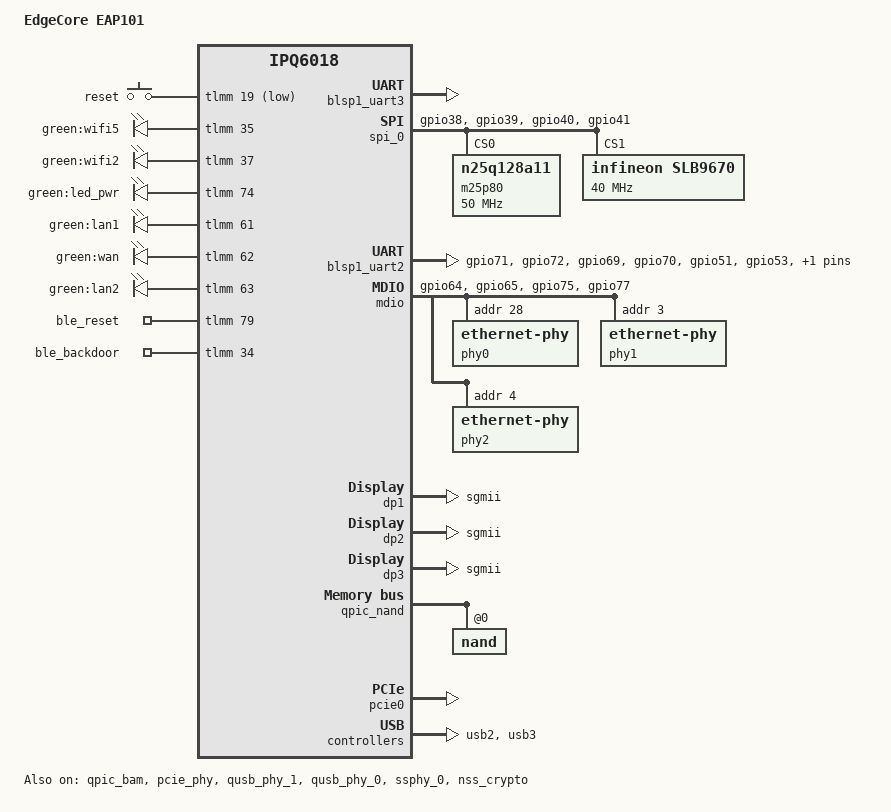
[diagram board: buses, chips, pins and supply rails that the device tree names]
// SPDX-License-Identifier: (GPL-2.0+ OR BSD-3-Clause)
/*
 * IPQ6018 CP01 board device tree source
 *
 * Copyright (c) 2019-2021 The Linux Foundation. All rights reserved.
 */

/dts-v1/;

#include "ipq6018.dtsi"
#include "ipq6018-cpr-regulator.dtsi"
#include <dt-bindings/input/input.h>

/ {
	model = "EdgeCore EAP101";
	compatible = "edgecore,eap101", "qcom,ipq6018-cp01", "qcom,ipq6018";

	aliases {
		serial0 = &blsp1_uart3;
		serial1 = &blsp1_uart2;
		/*
		 * Aliases as required by u-boot
		 * to patch MAC addresses
		 */
		ethernet0 = "/soc/dp1";
		ethernet1 = "/soc/dp2";
		ethernet2 = "/soc/dp3";

		led-boot = &led_power;
		led-failsafe = &led_power;
		led-running = &led_power;
		led-upgrade = &led_power;
	};

	chosen {
		stdout-path = "serial0:115200n8";
		bootargs-append = " swiotlb=1";
	};
};

&blsp1_uart3 {
	pinctrl-0 = <&serial_3_pins>;
	pinctrl-names = "default";
	status = "ok";
};

&spi_0 {
	pinctrl-0 = <&spi_0_pins>;
	pinctrl-names = "default";
	cs-select = <0>;
	status = "ok";

	m25p80@0 {
		#address-cells = <1>;
		#size-cells = <1>;
		reg = <0>;
		compatible = "n25q128a11";
		linux,modalias = "m25p80", "n25q128a11";
		spi-max-frequency = <50000000>;
		use-default-sizes;
	};

	slb9670@1{
		compatible = "infineon,slb9670";
		reg = <1>; /* CE1 */
		#address-cells = <1>;
		#size-cells = <0>;
		spi-max-frequency = <40000000>;
		status = "okay";
	};
};

&blsp1_uart2 {
	pinctrl-0 = <&hsuart_pins &btcoex_pins>;
	pinctrl-names = "default";
	dmas = <&blsp_dma 2>,
		<&blsp_dma 3>;
	dma-names = "tx", "rx";
	status = "ok";
};

&tlmm {
	spi_0_pins: spi-0-pins {
		pins = "gpio38", "gpio39", "gpio40", "gpio41";
		function = "blsp0_spi";
		drive-strength = <8>;
		bias-pull-down;
	};

	spi_1_pins: spi_1_pins {
		mux {
			pins = "gpio69", "gpio71", "gpio72";
			function = "blsp1_spi";
			drive-strength = <8>;
			bias-pull-down;
		};
		spi_cs {
			pins = "gpio70";
			function = "blsp1_spi";
			drive-strength = <8>;
			bias-disable;
		};
		quartz_interrupt {
			pins = "gpio78";
			function = "gpio";
			input;
			bias-disable;
		};
		quartz_reset {
			pins = "gpio79";
			function = "gpio";
			output-low;
			bias-disable;
		};

	};

	sd_pins: sd-pinmux {
		pins = "gpio62";
		function = "sd_card";
		drive-strength = <8>;
		bias-pull-up;
	};

	button_pins: button_pins {
		wps_button {
			pins = "gpio19";
			function = "gpio";
			drive-strength = <8>;
			bias-pull-up;
		};
	};

	mdio_pins: mdio_pinmux {
		mux_0 {
			pins = "gpio64";
			function = "mdc";
			drive-strength = <8>;
			bias-pull-up;
		};
		mux_1 {
			pins = "gpio65";
			function = "mdio";
			drive-strength = <8>;
			bias-pull-up;
		};
		mux_2 {
			pins = "gpio75";
			function = "gpio";
			bias-pull-up;
		};
		mux_3 {
			pins = "gpio77";
			function = "gpio";
			bias-pull-up;
		};
	};

	pwm_pins: pwm_pinmux {
		pins = "gpio18";
		function = "pwm00";
		drive-strength = <8>;
	};

	hsuart_pins: hsuart_pins {
		mux {
			pins = "gpio71", "gpio72", "gpio69", "gpio70";
			function = "blsp1_uart";
			drive-strength = <8>;
			bias-disable;
		};
	};

	leds_pins: leds_pins {
		led_pwr {
			pins = "gpio74";
			function = "gpio";
			drive-strength = <8>;
			bias-pull-down;
		};
		led_5g {
			pins = "gpio35";
			function = "gpio";
			drive-strength = <8>;
			bias-pull-down;
		};
		led_2g {
			pins = "gpio37";
			function = "gpio";
			drive-strength = <8>;
			bias-pull-down;
		};
	};

	btcoex_pins: btcoex_pins {
		mux_0 {
			pins = "gpio51";
			function = "pta1_1";
			drive-strength = <6>;
			bias-pull-down;
		};
		mux_1 {
			pins = "gpio53";
			function = "pta1_0";
			drive-strength = <6>;
			bias-pull-down;
		};
		mux_2 {
			pins = "gpio52";
			function = "pta1_2";
			drive-strength = <6>;
			bias-pull-down;
		};
	};
};

&soc {
	gpio_keys {
		compatible = "gpio-keys";
		pinctrl-0 = <&button_pins>;
		pinctrl-names = "default";

		wps {
			label = "reset";
			linux,code = <KEY_RESTART>;
			gpios = <&tlmm 19 GPIO_ACTIVE_LOW>;
			linux,input-type = <1>;
			debounce-interval = <60>;
		};
	};

	mdio: mdio@90000 {
		pinctrl-0 = <&mdio_pins>;
		pinctrl-names = "default";
		phy-reset-gpio = <&tlmm 75 0 &tlmm 77 1>;
		status = "ok";
		phy0: ethernet-phy@0 {
			reg = <0x1c>;
		};
		phy1: ethernet-phy@1 {
			reg = <3>;
		};
		phy2: ethernet-phy@2 {
			reg = <4>;
		};
	};

	dp1 {
		device_type = "network";
		compatible = "qcom,nss-dp";
		qcom,id = <5>;
		reg = <0x3a001000 0x200>;
		qcom,mactype = <0>;
		local-mac-address = [000000000000];
		qcom,link-poll = <1>;
		qcom,phy-mdio-addr = <28>;
		phy-mode = "sgmii";
	};

	dp2 {
		device_type = "network";
		compatible = "qcom,nss-dp";
		qcom,id = <4>;
		reg = <0x3a001200 0x200>;
		qcom,mactype = <0>;
		local-mac-address = [000000000000];
		qcom,link-poll = <1>;
		qcom,phy-mdio-addr = <3>;
		phy-mode = "sgmii";
	};

	dp3 {
		device_type = "network";
		compatible = "qcom,nss-dp";
		qcom,id = <3>;
		reg = <0x3a001400 0x200>;
		qcom,mactype = <0>;
		local-mac-address = [000000000000];
		qcom,link-poll = <1>;
		qcom,phy-mdio-addr = <4>;
		phy-mode = "sgmii";
	};

	ess-switch@3a000000 {
		switch_cpu_bmp = <0x1>;  /* cpu port bitmap */
		switch_lan_bmp = <0x1e>; /* lan port bitmap */
		switch_wan_bmp = <0x20>; /* wan port bitmap */
		switch_inner_bmp = <0xc0>; /*inner port bitmap*/
		switch_mac_mode = <0x0>; /* mac mode for uniphy instance0*/
		switch_mac_mode1 = <0xf>; /* mac mode for uniphy instance1*/
		switch_mac_mode2 = <0xff>; /* mac mode for uniphy instance2*/
		qcom,port_phyinfo {
			port@2 {
				port_id = <3>;
				phy_address = <4>;
			};
			port@1 {
				port_id = <4>;
				phy_address = <3>;
			};
			port@0 {
				port_id = <5>;
				phy_address = <0x1c>;
				port_mac_sel = "QGMAC_PORT";
			};
		};
	};

	nss-macsec0 {
		compatible = "qcom,nss-macsec";
		phy_addr = <0x18>;
		phy_access_mode = <0>;
		mdiobus = <&mdio>;
	};

	leds {
		compatible = "gpio-leds";
		pinctrl-0 = <&leds_pins>;
		pinctrl-names = "default";

		led@25 {
			label = "green:wifi5";
			gpios = <&tlmm 35 GPIO_ACTIVE_HIGH>;
			linux,default-trigger = "wf188:green:5g";
			default-state = "off";
		};
		led@24 {
			label = "green:wifi2";
			gpios = <&tlmm 37 GPIO_ACTIVE_HIGH>;
			linux,default-trigger = "wf188:green:2g";
			default-state = "off";
		};
		led_power: led@16 {
			label = "green:led_pwr";
			gpios = <&tlmm 74 GPIO_ACTIVE_HIGH>;
			linux,default-trigger = "green:power";
			default-state = "off";
		};
		led@61 {
			label = "green:lan1";
			gpios = <&tlmm 61 GPIO_ACTIVE_HIGH>;
			linux,default-trigger = "green:power";
			default-state = "off";
		};
		led@62 {
			label = "green:wan";
			gpios = <&tlmm 62 GPIO_ACTIVE_HIGH>;
			linux,default-trigger = "green:power";
			default-state = "off";
		};
		led@63 {
			label = "green:lan2";
			gpios = <&tlmm 63 GPIO_ACTIVE_HIGH>;
			linux,default-trigger = "green:power";
			default-state = "off";
		};
	};

	gpio_export {
		compatible = "gpio-export";
		#size-cells = <0>;

		ble_reset {
			gpio-export,name = "ble_reset";
			gpio-export,output = <0>;
			gpios = <&tlmm 79 GPIO_ACTIVE_HIGH>;
		};

		ble_backdoor {
			gpio-export,name = "ble_backdoor";
			gpio-export,output = <1>;
			gpios = <&tlmm 34 GPIO_ACTIVE_HIGH>;
		};
	};
};

&qpic_bam {
	status = "ok";
};

&qpic_nand {
	status = "ok";

	nand@0 {
		reg = <0>;
		#address-cells = <1>;
		#size-cells = <1>;

		nand-ecc-strength = <4>;
		nand-ecc-step-size = <512>;
		nand-bus-width = <8>;
	};
};

&pcie_phy {
	status = "ok";
};

&pcie0 {
	status = "ok";
};

&qusb_phy_1 {
	status = "ok";
};

&usb2 {
	status = "ok";
};

&qusb_phy_0 {
	status = "ok";
};

&ssphy_0 {
	status = "ok";
};

&usb3 {
	status = "ok";
};

&nss_crypto {
	status = "ok";
};
